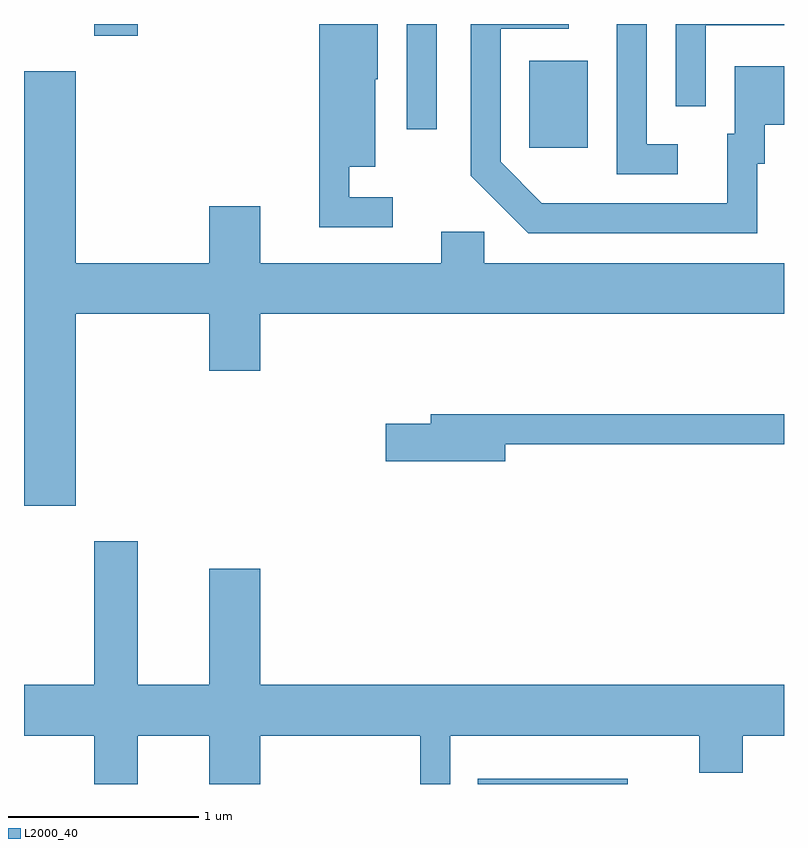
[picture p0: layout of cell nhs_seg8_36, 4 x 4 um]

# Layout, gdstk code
import gdstk
lib = gdstk.Library(unit=1e-6, precision=1e-09)
def R(c, l, rs):  # rectangles x0, y0, x1, y1
    for r in rs: c.add(gdstk.rectangle(r[:2], r[2:], *l))
def P(c, l, *ps):  # polygons
    for p in ps: c.add(gdstk.Polygon(p, *l))
L2000_40 = (2000, 40)

nhs_seg8_36 = lib.new_cell('nhs_seg8_36')
R(nhs_seg8_36, L2000_40, [(187.998,1878.342,188.789,1878.369), (188.271,1881.691,188.579,1882.149), (187.626,1881.788,187.784,1882.342), (185.981,1882.281,186.209,1882.342)])
P(nhs_seg8_36, L2000_40, [(189.469,1881.606),(189.509,1881.606),(189.509,1881.811),(189.611,1881.811),(189.611,1882.119),(189.351,1882.119),(189.351,1881.764),(189.311,1881.764),(189.311,1881.399),(188.337,1881.399),(188.119,1881.617),(188.119,1882.316),(188.478,1882.316),(188.478,1882.342),(187.961,1882.342),(187.961,1881.544),(188.264,1881.241),(189.469,1881.241)],
  [(189.199,1882.336),(189.611,1882.336),(189.611,1882.342),(189.041,1882.342),(189.041,1881.908),(189.199,1881.908)],
  [(187.553,1881.429),(187.324,1881.429),(187.324,1881.591),(187.459,1881.591),(187.459,1882.05),(187.474,1882.05),(187.474,1882.342),(187.166,1882.342),(187.166,1881.271),(187.553,1881.271)],
  [(189.053,1881.709),(188.889,1881.709),(188.889,1882.342),(188.731,1882.342),(188.731,1881.551),(189.053,1881.551)],
  [(185.884,1880.816),(186.586,1880.816),(186.586,1880.516),(186.854,1880.516),(186.854,1880.816),(189.611,1880.816),(189.611,1881.084),(188.034,1881.084),(188.034,1881.249),(187.806,1881.249),(187.806,1881.084),(186.854,1881.084),(186.854,1881.384),(186.586,1881.384),(186.586,1881.084),(185.884,1881.084),(185.884,1882.094),(185.611,1882.094),(185.611,1879.806),(185.884,1879.806)],
  [(188.144,1880.131),(189.611,1880.131),(189.611,1880.289),(187.751,1880.289),(187.751,1880.239),(187.516,1880.239),(187.516,1880.041),(188.144,1880.041)],
  [(186.209,1878.596),(186.586,1878.596),(186.586,1878.342),(186.854,1878.342),(186.854,1878.596),(187.696,1878.596),(187.696,1878.342),(187.854,1878.342),(187.854,1878.596),(189.166,1878.596),(189.166,1878.401),(189.394,1878.401),(189.394,1878.596),(189.611,1878.596),(189.611,1878.864),(186.854,1878.864),(186.854,1879.474),(186.586,1879.474),(186.586,1878.864),(186.209,1878.864),(186.209,1879.619),(185.981,1879.619),(185.981,1878.864),(185.611,1878.864),(185.611,1878.596),(185.981,1878.596),(185.981,1878.342),(186.209,1878.342)])

lib.write_gds('nhs_seg8_36.gds')
